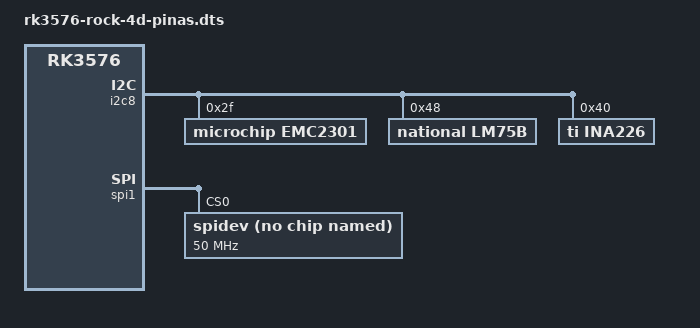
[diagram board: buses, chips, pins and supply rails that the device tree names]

/dts-v1/;


#include <dt-bindings/thermal/thermal.h>
#include "rk3576-rock-4d.dts"

&i2c8 {
	status = "okay";
	pinctrl-0 = <&i2c8m1_xfer>;
    emc2301: emc2301@2f {
        compatible = "microchip,emc2301";
        reg = <0x2f>;
        #address-cells = <1>;
        #size-cells = <0>;
        #cooling-cells = <2>;
        microchip,pwm-separate;
        microchip,cooling-levels = <10>;

        channel@0 {
            reg = <0>;
            pwm-min = <0>;
        };
    };
    lm75b: lm75b@48 {
        compatible = "national,lm75b";
        reg = <0x48>;
        #thermal-sensor-cells = <0>;
    };
    ina226@40 {
        compatible = "ti,ina226";
        reg = <0x40>;
        shunt-resistor = <5000>;
    };
};

&spi1 {
	status = "okay";
	#address-cells = <1>;
	#size-cells = <0>;
	pinctrl-names = "default";
	pinctrl-0 = <&spi1m0_csn0 &spi1m0_pins>;
	max-freq = <50000000>;

	spidev@0 {
		compatible = "rockchip,spidev";
		status = "okay";
		reg = <0>;
		spi-max-frequency = <50000000>;
	};
};

&{/thermal-zones} {
    sata_thermal: sata-thermal {
        polling-delay-passive = <1000>;
        polling-delay = <1000>;
        thermal-sensors = <&lm75b>;
        sensor_trips: trips {
            temp_crit: temp-crit {
                temperature = <65000>;
                hysteresis = <0>;
                type = "critical";
            };
            temp_hot: temp-hot {
                temperature = <42000>;
                hysteresis = <3000>;
                type = "active";
            };

            temp_vhot: temp-vhot {
                temperature = <55000>;
                hysteresis = <5000>;
                type = "active";
            };
        };

        cooling_maps: cooling-maps {
            hot {
                trip = <&temp_hot>;
                cooling-device = <&emc2301 3 3>;
            };


            vhot {
                trip = <&temp_vhot>;
                cooling-device = <&emc2301 4 7>;
            };
            melt {
                trip = <&temp_crit>;
                cooling-device = <&emc2301 THERMAL_NO_LIMIT THERMAL_NO_LIMIT>;
            };
        };
    };
};
